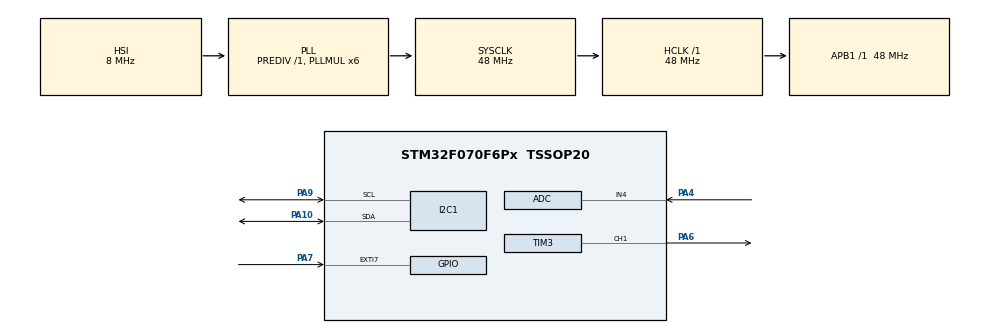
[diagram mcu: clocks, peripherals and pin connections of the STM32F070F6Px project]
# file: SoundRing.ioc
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ADC.ContinuousConvMode=ENABLE
ADC.DMAContinuousRequests=ENABLE
ADC.SamplingTime=ADC_SAMPLETIME_41CYCLES_5
Dma.ADC.1.Direction=DMA_PERIPH_TO_MEMORY
Dma.ADC.1.Instance=DMA1_Channel1
Dma.ADC.1.MemDataAlignment=DMA_MDATAALIGN_HALFWORD
Dma.ADC.1.MemInc=DMA_MINC_ENABLE
Dma.ADC.1.Mode=DMA_CIRCULAR
Dma.ADC.1.PeriphDataAlignment=DMA_PDATAALIGN_HALFWORD
Dma.ADC.1.PeriphInc=DMA_PINC_DISABLE
Dma.ADC.1.Priority=DMA_PRIORITY_LOW
Dma.Request0=TIM3_CH1/TRIG
Dma.Request1=ADC
Dma.TIM3_CH1/TRIG.0.Direction=DMA_MEMORY_TO_PERIPH
Dma.TIM3_CH1/TRIG.0.Instance=DMA1_Channel4
Dma.TIM3_CH1/TRIG.0.MemDataAlignment=DMA_MDATAALIGN_BYTE
Dma.TIM3_CH1/TRIG.0.MemInc=DMA_MINC_ENABLE
Dma.TIM3_CH1/TRIG.0.Mode=DMA_CIRCULAR
Dma.TIM3_CH1/TRIG.0.PeriphDataAlignment=DMA_PDATAALIGN_HALFWORD
Dma.TIM3_CH1/TRIG.0.PeriphInc=DMA_PINC_DISABLE
Dma.TIM3_CH1/TRIG.0.Priority=DMA_PRIORITY_LOW
Mcu.Family=STM32F0
Mcu.Name=STM32F070F6Px
Mcu.Package=TSSOP20
NVIC.DMA1_Channel1_IRQn=true\:0\:0\:false\:false\:true\:false\:true
NVIC.DMA1_Channel4_5_IRQn=true\:0\:0\:false\:false\:true\:false\:true
NVIC.EXTI4_15_IRQn=true\:0\:0\:false\:false\:true\:true\:true
NVIC.TIM14_IRQn=true\:0\:0\:false\:false\:true\:true\:true
PA10.GPIO_Pu=GPIO_PULLUP
PA10.Mode=I2C
PA10.Signal=I2C1_SDA
PA13.Mode=Serial_Wire
PA13.Signal=SYS_SWDIO
PA14.Mode=Serial_Wire
PA14.Signal=SYS_SWCLK
PA4.Mode=IN4
PA4.Signal=ADC_IN4
PA6.Signal=S_TIM3_CH1
PA7.GPIO_ModeDefaultEXTI=GPIO_MODE_IT_RISING_FALLING
PA7.GPIO_PuPd=GPIO_PULLUP
PA7.Signal=GPXTI7
PA9.GPIO_Pu=GPIO_PULLUP
PA9.Mode=I2C
PA9.Signal=I2C1_SCL
ProjectManager.HeapSize=0x200
ProjectManager.StackSize=0x400
ProjectManager.TargetToolchain=STM32CubeIDE
RCC.AHBFreq_Value=48000000
RCC.APB1Freq_Value=48000000
RCC.APB1TimFreq_Value=48000000
RCC.HCLKFreq_Value=48000000
RCC.PLLMUL=RCC_PLL_MUL6
RCC.SYSCLKFreq_VALUE=48000000
RCC.SYSCLKSource=RCC_SYSCLKSOURCE_PLLCLK
SH.S_TIM3_CH1.0=TIM3_CH1,PWM Generation1 CH1
TIM14.AutoReloadPreload=TIM_AUTORELOAD_PRELOAD_DISABLE
TIM14.Period=2999
TIM14.Prescaler=47999
TIM3.Channel-PWM\ Generation1\ CH1=TIM_CHANNEL_1
TIM3.Period=59
VP_TIM14_VS_ClockSourceINT.Mode=Enable_Timer
board=custom

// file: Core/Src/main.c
/* USER CODE BEGIN Header */
/**
  ******************************************************************************
  * @file           : main.c
  * @brief          : Main program body
  ******************************************************************************
  * @attention
  *
  * <h2><center>&copy; Copyright (c) 2021 STMicroelectronics.
  * All rights reserved.</center></h2>
  *
  * This software component is licensed by ST under BSD 3-Clause license,
  * the "License"; You may not use this file except in compliance with the
  * License. You may obtain a copy of the License at:
  *                        opensource.org/licenses/BSD-3-Clause
  *
  ******************************************************************************
  */
/* USER CODE END Header */
#include "main.h"

/* USER CODE BEGIN Includes */
#include <stdlib.h>

#include "ws2812.h"
#include "math.h"
/* USER CODE END Includes */

/* USER CODE BEGIN PD */
#define MAX_BRIGHTNESS 255 // Max led brightness
#define SAMPLES 20         // ADC samples
#define AVERAGE_SAMPLES 5  // Number of saples to compute the average

// OP-AMP rail aperture.
// Values from 0.1 to 1
// Less values, more sesitivity
#define RAIL_APERTURE 1
/* USER CODE END PD */

ADC_HandleTypeDef hadc;
DMA_HandleTypeDef hdma_adc;

I2C_HandleTypeDef hi2c1;

TIM_HandleTypeDef htim3;
TIM_HandleTypeDef htim14;
DMA_HandleTypeDef hdma_tim3_ch1_trig;

/* USER CODE BEGIN PV */
uint8_t brightnessMode = 0; // 1 = brightness configuration mode
uint8_t brightness = 12;    // Brightness level (1 - 12)
uint8_t mode = 0;           // visualization mode
uint32_t lastTick = 0;      // used to avoid button bounce effect

// Max ADC value
uint16_t max_value = 2047 * RAIL_APERTURE;

// specific to control led effects
uint16_t lastValues[AVERAGE_SAMPLES] = {0};
uint8_t lastValueCount = 0;
uint8_t globalHue = 0;
uint8_t hueOffset = 120;

// led rotation
uint8_t rotation_delay = 20;
uint8_t rotation_count = 0;
uint8_t rotation_step = 0;

/* USER CODE END PV */

void SystemClock_Config(void);
static void MX_GPIO_Init(void);
static void MX_DMA_Init(void);
static void MX_ADC_Init(void);
static void MX_TIM3_Init(void);
static void MX_I2C1_Init(void);
static void MX_TIM14_Init(void);
/* USER CODE BEGIN PFP */

void addLastValue(uint16_t value);
uint16_t getAverage();

void mode_0(uint16_t value);
void mode_1(uint16_t value);
void mode_2(uint16_t value);
void brightnessSetup(void);
uint8_t getRawBrightness(void);

/* USER CODE END PFP */

int main(void)
{

  /* MCU Configuration--------------------------------------------------------*/

  /* Reset of all peripherals, Initializes the Flash interface and the Systick. */
  HAL_Init();

  /* Configure the system clock */
  SystemClock_Config();

  /* Initialize all configured peripherals */
  MX_GPIO_Init();
  MX_DMA_Init();
  MX_ADC_Init();
  MX_TIM3_Init();
  MX_I2C1_Init();
  MX_TIM14_Init();
  /* USER CODE BEGIN 2 */

  // Issuing the TIM_TimeBaseInit() function caused the TIM_SR_UIF flag to become set. Clear it.
    __HAL_TIM_CLEAR_FLAG(&htim14, TIM_SR_UIF);

    volatile uint16_t rawValues[SAMPLES]; // Values from ADC

    // Clear leds
    ws2812_init(&htim3);
    ws2812_fillBlack();
    ws2812_update();

    /* Uncomment to Test current consumption */
    // setWHOLEcolor(255, 255, 255);
    // ws2812_update();
    // HAL_Delay(6000);
    /******/

    // Start ADC conversion in DMA mode.
    // DMA is configured in circular mode with continuous requests
    HAL_ADC_Start_DMA(&hadc, (uint32_t *)rawValues, SAMPLES);

    // Delay duration
    uint8_t delay = 10;

  /* USER CODE END 2 */

  /* Infinite loop */
  /* USER CODE BEGIN WHILE */
  while (1)
  {
	  if (brightnessMode == 1)
	      {
	        brightnessSetup();
	      }
	      else
	      {
	        // calculate ADC value average from specified samples
	        volatile uint16_t average = rawValues[0];
	        for (uint8_t i = 1; i < SAMPLES; i++)
	        {
	          average = (average + rawValues[i]);
	        }
	        average /= SAMPLES;

	        // Execute visualization mode
	        switch (mode)
	        {
	        case 0:
	          mode_0(average);
	          break;
	        case 1:
	          mode_1(average);
	          break;
	        case 2:
	          mode_2(average);
	          break;
	        default:
	          break;
	        }
	      }

	      HAL_Delay(delay);
    /* USER CODE END WHILE */

  }
}

void SystemClock_Config(void)
{
  RCC_OscInitTypeDef RCC_OscInitStruct = {0};
  RCC_ClkInitTypeDef RCC_ClkInitStruct = {0};
  RCC_PeriphCLKInitTypeDef PeriphClkInit = {0};

  /** Initializes the RCC Oscillators according to the specified parameters
  * in the RCC_OscInitTypeDef structure.
  */
  RCC_OscInitStruct.OscillatorType = RCC_OSCILLATORTYPE_HSI|RCC_OSCILLATORTYPE_HSI14;
  RCC_OscInitStruct.HSIState = RCC_HSI_ON;
  RCC_OscInitStruct.HSI14State = RCC_HSI14_ON;
  RCC_OscInitStruct.HSICalibrationValue = RCC_HSICALIBRATION_DEFAULT;
  RCC_OscInitStruct.HSI14CalibrationValue = 16;
  RCC_OscInitStruct.PLL.PLLState = RCC_PLL_ON;
  RCC_OscInitStruct.PLL.PLLSource = RCC_PLLSOURCE_HSI;
  RCC_OscInitStruct.PLL.PLLMUL = RCC_PLL_MUL6;
  RCC_OscInitStruct.PLL.PREDIV = RCC_PREDIV_DIV1;
  if (HAL_RCC_OscConfig(&RCC_OscInitStruct) != HAL_OK)
  {
    Error_Handler();
  }
  /** Initializes the CPU, AHB and APB buses clocks
  */
  RCC_ClkInitStruct.ClockType = RCC_CLOCKTYPE_HCLK|RCC_CLOCKTYPE_SYSCLK
                              |RCC_CLOCKTYPE_PCLK1;
  RCC_ClkInitStruct.SYSCLKSource = RCC_SYSCLKSOURCE_PLLCLK;
  RCC_ClkInitStruct.AHBCLKDivider = RCC_SYSCLK_DIV1;
  RCC_ClkInitStruct.APB1CLKDivider = RCC_HCLK_DIV1;

  if (HAL_RCC_ClockConfig(&RCC_ClkInitStruct, FLASH_LATENCY_1) != HAL_OK)
  {
    Error_Handler();
  }
  PeriphClkInit.PeriphClockSelection = RCC_PERIPHCLK_I2C1;
  PeriphClkInit.I2c1ClockSelection = RCC_I2C1CLKSOURCE_HSI;
  if (HAL_RCCEx_PeriphCLKConfig(&PeriphClkInit) != HAL_OK)
  {
    Error_Handler();
  }
}

static void MX_ADC_Init(void)
{

  ADC_ChannelConfTypeDef sConfig = {0};

  /** Configure the global features of the ADC (Clock, Resolution, Data Alignment and number of conversion)
  */
  hadc.Instance = ADC1;
  hadc.Init.ClockPrescaler = ADC_CLOCK_ASYNC_DIV1;
  hadc.Init.Resolution = ADC_RESOLUTION_12B;
  hadc.Init.DataAlign = ADC_DATAALIGN_RIGHT;
  hadc.Init.ScanConvMode = ADC_SCAN_DIRECTION_FORWARD;
  hadc.Init.EOCSelection = ADC_EOC_SINGLE_CONV;
  hadc.Init.LowPowerAutoWait = DISABLE;
  hadc.Init.LowPowerAutoPowerOff = DISABLE;
  hadc.Init.ContinuousConvMode = ENABLE;
  hadc.Init.DiscontinuousConvMode = DISABLE;
  hadc.Init.ExternalTrigConv = ADC_SOFTWARE_START;
  hadc.Init.ExternalTrigConvEdge = ADC_EXTERNALTRIGCONVEDGE_NONE;
  hadc.Init.DMAContinuousRequests = ENABLE;
  hadc.Init.Overrun = ADC_OVR_DATA_PRESERVED;
  if (HAL_ADC_Init(&hadc) != HAL_OK)
  {
    Error_Handler();
  }
  /** Configure for the selected ADC regular channel to be converted.
  */
  sConfig.Channel = ADC_CHANNEL_4;
  sConfig.Rank = ADC_RANK_CHANNEL_NUMBER;
  sConfig.SamplingTime = ADC_SAMPLETIME_41CYCLES_5;
  if (HAL_ADC_ConfigChannel(&hadc, &sConfig) != HAL_OK)
  {
    Error_Handler();
  }

}

static void MX_I2C1_Init(void)
{

  hi2c1.Instance = I2C1;
  hi2c1.Init.Timing = 0x2000090E;
  hi2c1.Init.OwnAddress1 = 0;
  hi2c1.Init.AddressingMode = I2C_ADDRESSINGMODE_7BIT;
  hi2c1.Init.DualAddressMode = I2C_DUALADDRESS_DISABLE;
  hi2c1.Init.OwnAddress2 = 0;
  hi2c1.Init.OwnAddress2Masks = I2C_OA2_NOMASK;
  hi2c1.Init.GeneralCallMode = I2C_GENERALCALL_DISABLE;
  hi2c1.Init.NoStretchMode = I2C_NOSTRETCH_DISABLE;
  if (HAL_I2C_Init(&hi2c1) != HAL_OK)
  {
    Error_Handler();
  }
  /** Configure Analogue filter
  */
  if (HAL_I2CEx_ConfigAnalogFilter(&hi2c1, I2C_ANALOGFILTER_ENABLE) != HAL_OK)
  {
    Error_Handler();
  }
  /** Configure Digital filter
  */
  if (HAL_I2CEx_ConfigDigitalFilter(&hi2c1, 0) != HAL_OK)
  {
    Error_Handler();
  }

}

static void MX_TIM3_Init(void)
{

  TIM_MasterConfigTypeDef sMasterConfig = {0};
  TIM_OC_InitTypeDef sConfigOC = {0};

  htim3.Instance = TIM3;
  htim3.Init.Prescaler = 0;
  htim3.Init.CounterMode = TIM_COUNTERMODE_UP;
  htim3.Init.Period = 59;
  htim3.Init.ClockDivision = TIM_CLOCKDIVISION_DIV1;
  htim3.Init.AutoReloadPreload = TIM_AUTORELOAD_PRELOAD_DISABLE;
  if (HAL_TIM_PWM_Init(&htim3) != HAL_OK)
  {
    Error_Handler();
  }
  sMasterConfig.MasterOutputTrigger = TIM_TRGO_RESET;
  sMasterConfig.MasterSlaveMode = TIM_MASTERSLAVEMODE_DISABLE;
  if (HAL_TIMEx_MasterConfigSynchronization(&htim3, &sMasterConfig) != HAL_OK)
  {
    Error_Handler();
  }
  sConfigOC.OCMode = TIM_OCMODE_PWM1;
  sConfigOC.Pulse = 0;
  sConfigOC.OCPolarity = TIM_OCPOLARITY_HIGH;
  sConfigOC.OCFastMode = TIM_OCFAST_DISABLE;
  if (HAL_TIM_PWM_ConfigChannel(&htim3, &sConfigOC, TIM_CHANNEL_1) != HAL_OK)
  {
    Error_Handler();
  }
  HAL_TIM_MspPostInit(&htim3);

}

static void MX_TIM14_Init(void)
{

  htim14.Instance = TIM14;
  htim14.Init.Prescaler = 47999;
  htim14.Init.CounterMode = TIM_COUNTERMODE_UP;
  htim14.Init.Period = 2999;
  htim14.Init.ClockDivision = TIM_CLOCKDIVISION_DIV1;
  htim14.Init.AutoReloadPreload = TIM_AUTORELOAD_PRELOAD_DISABLE;
  if (HAL_TIM_Base_Init(&htim14) != HAL_OK)
  {
    Error_Handler();
  }

}

static void MX_DMA_Init(void)
{

  /* DMA controller clock enable */
  __HAL_RCC_DMA1_CLK_ENABLE();

  /* DMA interrupt init */
  /* DMA1_Channel1_IRQn interrupt configuration */
  HAL_NVIC_SetPriority(DMA1_Channel1_IRQn, 0, 0);
  HAL_NVIC_EnableIRQ(DMA1_Channel1_IRQn);
  /* DMA1_Channel4_5_IRQn interrupt configuration */
  HAL_NVIC_SetPriority(DMA1_Channel4_5_IRQn, 0, 0);
  HAL_NVIC_EnableIRQ(DMA1_Channel4_5_IRQn);

}

static void MX_GPIO_Init(void)
{
  GPIO_InitTypeDef GPIO_InitStruct = {0};

  /* GPIO Ports Clock Enable */
  __HAL_RCC_GPIOA_CLK_ENABLE();

  /*Configure GPIO pin : PA7 */
  GPIO_InitStruct.Pin = GPIO_PIN_7;
  GPIO_InitStruct.Mode = GPIO_MODE_IT_RISING_FALLING;
  GPIO_InitStruct.Pull = GPIO_PULLUP;
  HAL_GPIO_Init(GPIOA, &GPIO_InitStruct);

  /* EXTI interrupt init*/
  HAL_NVIC_SetPriority(EXTI4_15_IRQn, 0, 0);
  HAL_NVIC_EnableIRQ(EXTI4_15_IRQn);

}

/* USER CODE BEGIN 4 */

/**
 * Interrupt callback
 */
void HAL_GPIO_EXTI_Callback(uint16_t GPIO_Pin)
{
  if (GPIO_Pin == GPIO_PIN_7)
  {
    if (HAL_GPIO_ReadPin(GPIOA, GPIO_PIN_7) == GPIO_PIN_SET) // Button released
    {
      if (brightnessMode == 0)
      {
        HAL_TIM_Base_Stop_IT(&htim14);
        __HAL_TIM_SET_COUNTER(&htim14, 0);
      }
      lastTick = HAL_GetTick();

    }
    else // Button pressed
    {

      // Check clock ticks between interrupts
      // to avoid bounce effect
      uint32_t tick = HAL_GetTick();
      uint32_t diff = tick - lastTick;
      if (diff > 200)
      {

        if (brightnessMode == 1)
        {
          // Increment brightness
          __HAL_TIM_SET_COUNTER(&htim14, 0);
          brightness = (brightness == 12) ? 1 : brightness + 1;
        }
        else
        {
          HAL_TIM_Base_Start_IT(&htim14);
          ws2812_fillBlack();
          mode++;
          if (mode > 2)
          {
            mode = 0;
          }
        }
      }

      lastTick = tick;
    }
  }
}

/**
 * Timer Interrupt callback
 */
void HAL_TIM_PeriodElapsedCallback(TIM_HandleTypeDef *htim)
{
  if (brightnessMode == 1)
  {
    HAL_TIM_Base_Stop_IT(&htim14);
    __HAL_TIM_SET_COUNTER(&htim14, 0);
  }

  brightnessMode = (brightnessMode == 1) ? 0 : 1;
}

/**
 * Add value to compute average
 */
void addLastValue(uint16_t value)
{
  lastValues[lastValueCount] = value;
  lastValueCount++;

  if (lastValueCount >= AVERAGE_SAMPLES)
  {
    lastValueCount = 0;
  }
}

/**
 * Get the average value
 */
uint16_t getAverage()
{
  uint16_t average = 0;
  for (uint8_t i = 0; i < AVERAGE_SAMPLES; i++)
  {
    average += lastValues[i];
  }

  return abs(average / AVERAGE_SAMPLES);
}

/**
 * Mode 0 - Sound Pressure Gauge
 */
void mode_0(uint16_t value)
{
  // Difference between the average value and center position
  // of the op-amp signal. ADC computes in 12bit(4096), so
  // center position hava a value of 4095/2 ~= 2047
  uint16_t tempValue = abs(2047 - value);

  // Uncomment to set equivalent brightness from value
  // uint8_t brightness = floor(tempValue * MAX_BRIGHTNESS) / max_value;
  uint8_t brightness = getRawBrightness();

  // LED position that corresponds to the value
  uint8_t position = abs((tempValue * LED_COUNT) / max_value);

  // Check difference from last value to change the Hue
  int diff = value - getAverage();
  if (diff > 1)
  {
    if (globalHue < 235)
    {
      globalHue += 2;
    }
  }
  else if (diff < -1)
  {
    if (globalHue > 3)
    {
      globalHue -= 2;
    }
  }
  addLastValue(value);

  // Apply LED values and display data
  for (uint8_t i = 0; i < LED_COUNT; i++)
  {
    if (i < position)
    {
      ws2812_setLEDhue(i, globalHue + hueOffset + (i * 2), 255, brightness);
    }
    else
    {
      ws2812_setLEDfade(i, 1.2);
    }
  }
  ws2812_update();
}

/**
 * Mode 1 - Half ring centered and mirrored
 */
void mode_1(uint16_t value)
{
  uint16_t tempValue = abs(2047 - value);
  // Uncomment to set equivalent brightness from value
  // uint8_t brightness = floor(tempValue * MAX_BRIGHTNESS) / max_value;
  uint8_t brightness = getRawBrightness();
  uint8_t position = abs((tempValue * 4) / max_value);

  int diff = value - getAverage();
  if (diff > 1)
  {
    if (globalHue < 235)
    {
      globalHue += 2;
    }
  }
  else if (diff < -1)
  {
    if (globalHue > 5)
    {
      globalHue -= 2;
    }
  }
  addLastValue(value);

  for (uint8_t i = 0; i < 4; i++)
  {
    if (i < position)
    {
      ws2812_setLEDhue(i, globalHue + hueOffset + (i * 2), 255, brightness);
    }
    else
    {
      ws2812_setLEDfade(i, 1.2);
    }
  }

  // mirror
  ws2812_mirrorFirstQuarter();

  ws2812_update();
}

/**
 * Mode 2 - Same as Mode 1, but with rotation
 */
void mode_2(uint16_t value)
{
  uint16_t tempValue = abs(2047 - value);
  // Uncomment to set equivalent brightness from value
  // uint8_t brightness = floor(tempValue * MAX_BRIGHTNESS) / max_value;
  uint8_t brightness = getRawBrightness();
  uint8_t position = abs((tempValue * 4) / max_value);

  int diff = value - getAverage();
  if (diff > 1)
  {
    if (globalHue < 235)
    {
      globalHue += 2;
    }
  }
  else if (diff < -1)
  {
    if (globalHue > 5)
    {
      globalHue -= 2;
    }
  }
  addLastValue(value);

  for (uint8_t i = 0; i < 4; i++)
  {
    if (i < position)
    {
      ws2812_setLEDhue(i, globalHue + hueOffset + (i * 2), 255, brightness);
    }
    else
    {
      ws2812_setLEDfade(i, 1.2);
    }
  }

  // mirror
  ws2812_mirrorFirstQuarter();

  if (rotation_count == rotation_delay)
  {
    rotation_count = 0;
    rotation_step++;
    if (rotation_step >= LED_COUNT)
    {
      rotation_step = 0;
    }
  }
  rotation_count++;

  ws2812_shift(rotation_step);
}

/**
 * Brightness configuration mode
 */
void brightnessSetup(void)
{
  ws2812_fillBlack();
  uint8_t rawBrightness = getRawBrightness();
  for (uint8_t i = 0; i < brightness; i++)
  {

    ws2812_setLEDcolor(i, rawBrightness, rawBrightness, rawBrightness);
    ws2812_update();
  }
}

/**
 * Transform brightness lever (1 - 12)
 * to brightness value (21 - 255)
 */
uint8_t getRawBrightness(void)
{
  uint8_t raw = round((brightness * 255) / 12);
  return raw;
}

/* USER CODE END 4 */

void Error_Handler(void)
{
  __disable_irq();
  while (1)
  {
  }
}

/************************ (C) COPYRIGHT STMicroelectronics *****END OF FILE****/
